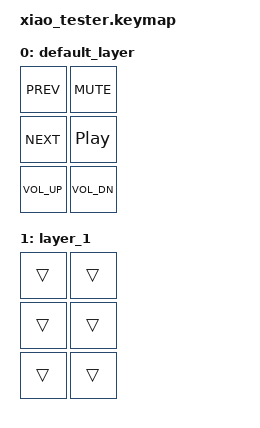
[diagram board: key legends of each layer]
#include <behaviors.dtsi>
#include <dt-bindings/zmk/keys.h>

/ {
    keymap {
        compatible = "zmk,keymap";

        default_layer {
            // -------------------------
            // |   Play/Pause    |     M     |
            // |        A        |     B     |
            // |        C        |     D     |

            bindings = <
&kp C_PREV  &kp C_MUTE
&kp C_NEXT  &kp C_PLAY_PAUSE
&kp C_VOL_UP &kp C_VOL_DN
            >;
        };

        layer_1 {
            bindings = <
&trans  &trans
&trans  &trans
&trans  &trans
            >;
        };
    };
};
